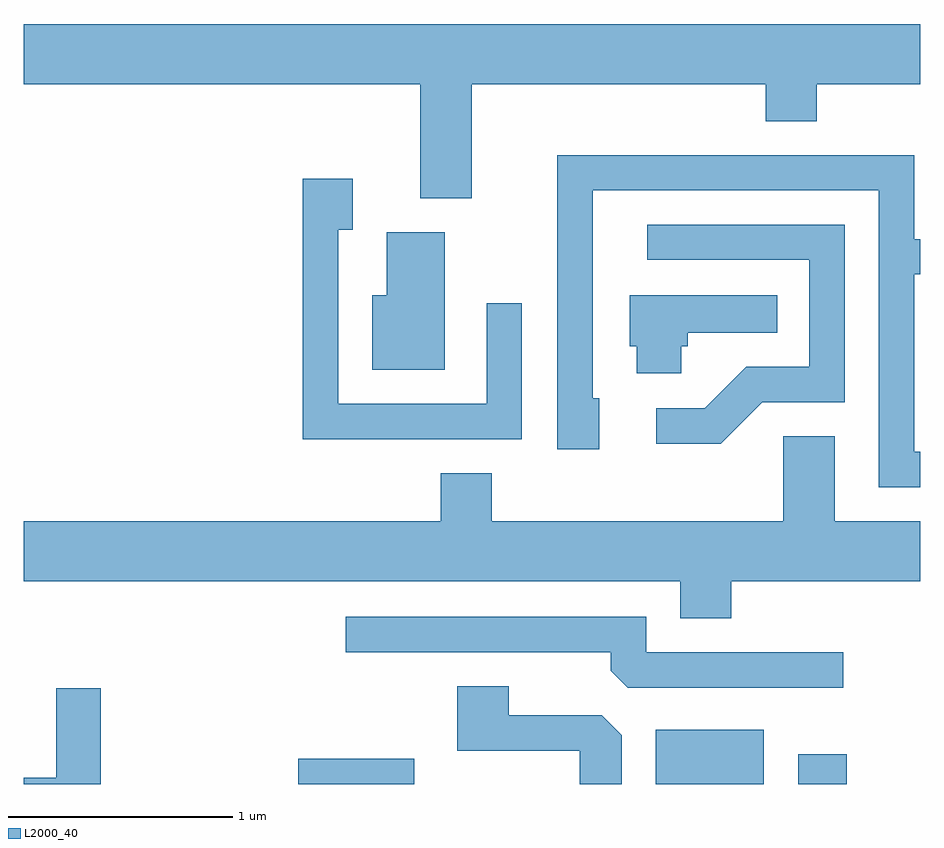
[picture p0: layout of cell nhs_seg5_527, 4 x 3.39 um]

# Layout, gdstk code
import gdstk
lib = gdstk.Library(unit=1e-6, precision=1e-09)
def R(c, l, rs):  # rectangles x0, y0, x1, y1
    for r in rs: c.add(gdstk.rectangle(r[:2], r[2:], *l))
def P(c, l, *ps):  # polygons
    for p in ps: c.add(gdstk.Polygon(p, *l))
L2000_40 = (2000, 40)

nhs_seg5_527 = lib.new_cell('nhs_seg5_527')
R(nhs_seg5_527, L2000_40, [(200.836,1498.072,201.354,1498.184), (202.431,1498.072,202.914,1498.314), (203.066,1498.072,203.284,1498.204)])
P(nhs_seg5_527, L2000_40, [(201.609,1501.196),(202.921,1501.196),(202.921,1501.031),(203.149,1501.031),(203.149,1501.196),(203.611,1501.196),(203.611,1501.464),(199.611,1501.464),(199.611,1501.196),(201.381,1501.196),(201.381,1500.686),(201.609,1500.686)],
  [(203.611,1499.554),(203.584,1499.554),(203.584,1500.346),(203.611,1500.346),(203.611,1500.504),(203.584,1500.504),(203.584,1500.879),(201.991,1500.879),(201.991,1499.566),(202.179,1499.566),(202.179,1499.794),(202.149,1499.794),(202.149,1500.721),(203.426,1500.721),(203.426,1499.396),(203.611,1499.396)],
  [(201.834,1500.218),(201.676,1500.218),(201.676,1499.769),(201.014,1499.769),(201.014,1500.546),(201.079,1500.546),(201.079,1500.774),(200.856,1500.774),(200.856,1499.611),(201.834,1499.611)],
  [(202.907,1499.776),(203.274,1499.776),(203.274,1500.569),(202.393,1500.569),(202.393,1500.411),(203.116,1500.411),(203.116,1499.934),(202.834,1499.934),(202.649,1499.749),(202.433,1499.749),(202.433,1499.591),(202.722,1499.591)],
  [(201.489,1500.534),(201.231,1500.534),(201.231,1500.254),(201.166,1500.254),(201.166,1499.921),(201.489,1499.921)],
  [(202.544,1500.026),(202.574,1500.026),(202.574,1500.086),(202.973,1500.086),(202.973,1500.254),(202.316,1500.254),(202.316,1500.026),(202.346,1500.026),(202.346,1499.906),(202.544,1499.906)],
  [(202.769,1498.976),(203.611,1498.976),(203.611,1499.244),(203.229,1499.244),(203.229,1499.624),(203.001,1499.624),(203.001,1499.244),(201.699,1499.244),(201.699,1499.459),(201.471,1499.459),(201.471,1499.244),(199.611,1499.244),(199.611,1498.976),(202.541,1498.976),(202.541,1498.811),(202.769,1498.811)],
  [(203.268,1498.659),(202.389,1498.659),(202.389,1498.819),(201.048,1498.819),(201.048,1498.661),(202.231,1498.661),(202.231,1498.577),(202.307,1498.501),(203.268,1498.501)],
  [(202.279,1498.289),(202.189,1498.379),(201.774,1498.379),(201.774,1498.509),(201.546,1498.509),(201.546,1498.221),(202.091,1498.221),(202.091,1498.072),(202.279,1498.072)],
  [(199.954,1498.499),(199.756,1498.499),(199.756,1498.099),(199.611,1498.099),(199.611,1498.072),(199.954,1498.072)])

lib.write_gds('nhs_seg5_527.gds')
